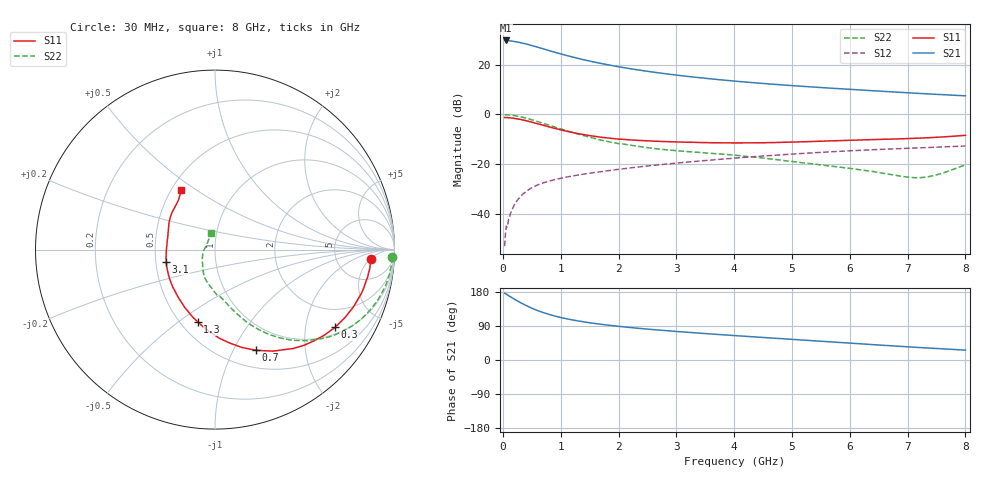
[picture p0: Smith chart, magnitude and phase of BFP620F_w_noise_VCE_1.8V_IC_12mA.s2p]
! Infineon Technologies  Discrete & RF Semiconductors
! BFP620F
! VCE =  1.8 V,  IC =  12 mA
! Common Emitter S-Parameters:  Dec 2014
# GHz  S  MA  R  50
!  f  S11  S21  S12  S22
! GHz  MAG  ANG  MAG  ANG  MAG  ANG  MAG  ANG
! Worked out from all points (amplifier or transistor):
!   95 points, 30 MHz to 8 GHz, reference 50 ohm
!   highest |S21| = 29.7 dB at 50 MHz (marker M1)
!   |S21| within 3 dB of that: start of sweep to 645.7 MHz
!   unconditionally stable (mu >= 1): 3.703 GHz to end of sweep
!   at 300 MHz: K = 0.20, MSG = 30.9 dB, |S12| = -33.0 dB
!   at 3.3 GHz: K = 0.98, MSG = 16.9 dB, |S12| = -18.9 dB
!   at 8 GHz: K = 1.08, MAG = 8.3 dB, |S12| = -12.6 dB
!   lowest NFmin = 0.64 dB at 450 MHz
!   S11 on the Smith chart (normalised r, x): 30 MHz: 12, -5; 300 MHz: 1.23, -2.92; 700 MHz: 0.70, -1.24; 1.3 GHz: 0.61, -0.59; 3.1 GHz: 0.57, -0.08; 8 GHz: 0.56, +0.43
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0.03  0.8698 -3.3  30.37 176.5  0.0023 88.1  0.9849 -2.5
0.05  0.8679 -5.7  30.39 174.6  0.0047 81.0  0.9871 -4.2
0.15  0.8503 -17.0  29.59 165.1  0.0118 82.5  0.9666 -13.2
0.25  0.8166 -27.8  28.28 156.0  0.0191 76.2  0.9267 -21.5
0.3  0.797 -32.9  27.54 151.8  0.0225 73.4  0.9017 -25.5
0.4  0.7497 -42.8  25.88 143.8  0.0285 69.6  0.8424 -32.7
0.45  0.7268 -47.3  24.94 140.2  0.0314 67.7  0.815 -36.0
0.6  0.6518 -60.2  22.29 130.5  0.0387 63.3  0.7214 -44.7
0.7  0.6066 -67.7  20.62 125.1  0.0426 60.7  0.6635 -49.6
0.8  0.5646 -74.8  19.04 120.3  0.0463 59.4  0.6091 -53.8
1  0.4933 -87.4  16.36 112.3  0.0526 56.9  0.5154 -60.8
1.1  0.4618 -93.0  15.21 108.8  0.0558 55.9  0.4745 -63.8
1.3  0.4135 -103.5  13.29 103.1  0.0612 54.9  0.4054 -68.9
1.4  0.3957 -108.4  12.49 100.7  0.0639 54.4  0.3774 -71.2
1.6  0.3634 -117.7  11.1 96.2  0.0691 53.8  0.3284 -75.7
1.9  0.3299 -130.0  9.491 90.6  0.0769 53.3  0.2735 -82.1
2.7  0.2895 -156.1  6.808 79.0  0.098 51.1  0.203 -98.1
3.1  0.2801 -166.1  5.959 74.2  0.1088 49.9  0.1839 -104.1
4.1  0.2694 173.3  4.564 63.5  0.136 46.0  0.1493 -115.0
5.4  0.2888 153.4  3.527 50.5  0.1715 39.2  0.1012 -133.8
6.7  0.3207 136.3  2.851 37.7  0.2034 31.2  0.0629 -175.1
8  0.3821 120.0  2.364 26.0  0.2331 23.2  0.0978 104.1
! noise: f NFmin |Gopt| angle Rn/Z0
0.45  0.64  0.22  8  0.21
0.9  0.71  0.2  19  0.18
1.5  0.76  0.19  21  0.13
1.8  0.79  0.19  23  0.11
1.9  0.8  0.14  38  0.14
2.4  0.84  0.12  53  0.12
3.5  0.93  0.11  76  0.12
5.5  1.1  0.1  193  0.09
6  1.14  0.1  221  0.14
